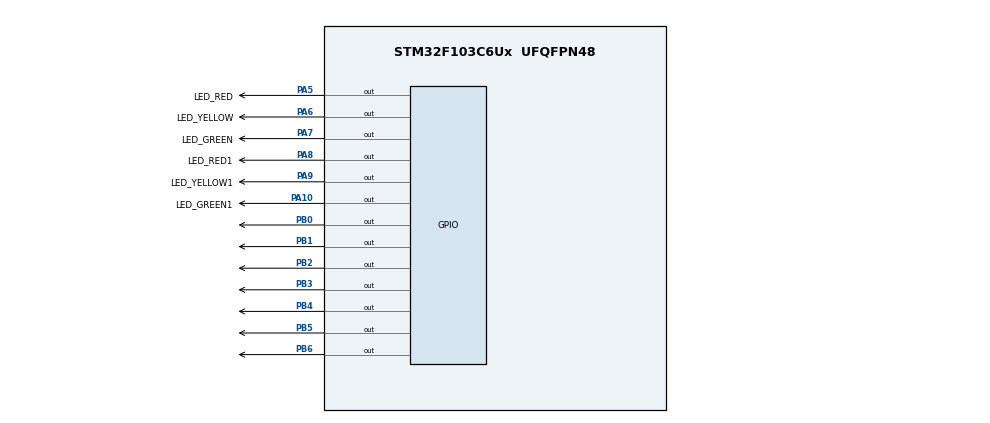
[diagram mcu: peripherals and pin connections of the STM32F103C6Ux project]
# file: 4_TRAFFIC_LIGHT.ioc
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Mcu.Family=STM32F1
Mcu.Name=STM32F103C6Ux
Mcu.Package=UFQFPN48
NVIC.PriorityGroup=NVIC_PRIORITYGROUP_4
PA10.GPIO_Label=LED_GREEN1
PA10.Signal=GPIO_Output
PA5.GPIO_Label=LED_RED
PA5.Signal=GPIO_Output
PA6.GPIO_Label=LED_YELLOW
PA6.Signal=GPIO_Output
PA7.GPIO_Label=LED_GREEN
PA7.Signal=GPIO_Output
PA8.GPIO_Label=LED_RED1
PA8.Signal=GPIO_Output
PA9.GPIO_Label=LED_YELLOW1
PA9.Signal=GPIO_Output
PB0.Signal=GPIO_Output
PB1.Signal=GPIO_Output
PB2.Signal=GPIO_Output
PB3.Signal=GPIO_Output
PB4.Signal=GPIO_Output
PB5.Signal=GPIO_Output
PB6.Signal=GPIO_Output
ProjectManager.HeapSize=0x200
ProjectManager.StackSize=0x400
ProjectManager.TargetToolchain=STM32CubeIDE
RCC.APB1Freq_Value=8000000
RCC.APB2Freq_Value=8000000
VP_SYS_VS_ND.Mode=No_Debug
board=custom

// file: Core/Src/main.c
/* USER CODE BEGIN Header */
/**
  ******************************************************************************
  * @file           : main.c
  * @brief          : Main program body
  ******************************************************************************
  * @attention
  *
  * <h2><center>&copy; Copyright (c) 2025 STMicroelectronics.
  * All rights reserved.</center></h2>
  *
  * This software component is licensed by ST under BSD 3-Clause license,
  * the "License"; You may not use this file except in compliance with the
  * License. You may obtain a copy of the License at:
  *                        opensource.org/licenses/BSD-3-Clause
  *
  ******************************************************************************
  */
/* USER CODE END Header */
#include "main.h"

void SystemClock_Config(void);
static void MX_GPIO_Init(void);

int main(void)
{
	#define SEG_PORT GPIOB
	#define SEG_A    GPIO_PIN_0
	#define SEG_B    GPIO_PIN_1
	#define SEG_C    GPIO_PIN_2
	#define SEG_D    GPIO_PIN_3
	#define SEG_E    GPIO_PIN_4
	#define SEG_F    GPIO_PIN_5
	#define SEG_G    GPIO_PIN_6
  /* USER CODE BEGIN 1 */
	static const uint8_t SEG_CC_PATTERN[10] = {
	/*0*/ 0b0111111,  // a b c d e f
	/*1*/ 0b0000110,  // b c
	/*2*/ 0b1011011,  // a b d e g
	/*3*/ 0b1001111,  // a b c d g
	/*4*/ 0b1100110,  // b c f g
	/*5*/ 0b1101101,  // a c d f g
	/*6*/ 0b1111101,  // a c d e f g
	/*7*/ 0b0000111,  // a b c
	/*8*/ 0b1111111,  // a b c d e f g
	/*9*/ 0b1101111   // a b c d f g
	};
	static const uint16_t SEG_PINS[7] = {SEG_A, SEG_B, SEG_C, SEG_D, SEG_E, SEG_F, SEG_G};

	void display7SEG(int num)
	{
	    if (num < 0 || num > 9) {  // invalid → turn all OFF
	        HAL_GPIO_WritePin(SEG_PORT,SEG_A|SEG_B|SEG_C|SEG_D|SEG_E|SEG_F|SEG_G, SET); // OFF for common-anode
	        return;
	    }

	    uint8_t pat = SEG_CC_PATTERN[num];  // 1 bits mean "segment ON" (CC logic)

	    // Write each segment: ON→RESET, OFF→SET for common-anode
	    for (int i = 0; i < 7; ++i) {
	        GPIO_PinState level = (pat & (1u << i)) ? GPIO_PIN_RESET  // ON
	                                                : GPIO_PIN_SET;   // OFF
	        HAL_GPIO_WritePin(SEG_PORT, SEG_PINS[i], level);
	    }
	}
  /* USER CODE END 1 */

  /* MCU Configuration--------------------------------------------------------*/

  /* Reset of all peripherals, Initializes the Flash interface and the Systick. */
  HAL_Init();

  /* Configure the system clock */
  SystemClock_Config();

  /* Initialize all configured peripherals */
  MX_GPIO_Init();

  /* Infinite loop */
  /* USER CODE BEGIN WHILE */
  typedef enum {GREEN1,YELLOW1,GREEN2,YELLOW2} TrafficState;
  TrafficState state = GREEN1;
  int counter = 0;
  int seg_counter = 5;
  while (1)
  {
	  // --- State Machine ---
	  	counter++;
	  	display7SEG(seg_counter--);

	    switch (state) {
	    case GREEN1:   // Light 1 = GREEN, Light 2 = RED
	    	HAL_GPIO_WritePin(LED_YELLOW1_GPIO_Port, LED_YELLOW1_Pin, RESET);
	    	HAL_GPIO_WritePin(LED_RED_GPIO_Port, LED_RED_Pin, RESET);
	        HAL_GPIO_WritePin(LED_GREEN_GPIO_Port, LED_GREEN_Pin, SET);
	        HAL_GPIO_WritePin(LED_RED1_GPIO_Port, LED_RED1_Pin, SET);
	        if (counter >= 3) { counter = 0; state = YELLOW1; }
	        break;

	    case YELLOW1:  // Light 1 = YELLOW, Light 2 = RED
	    	HAL_GPIO_WritePin(LED_GREEN_GPIO_Port, LED_GREEN_Pin, RESET);
	        HAL_GPIO_WritePin(LED_YELLOW_GPIO_Port, LED_YELLOW_Pin, SET);
	        HAL_GPIO_WritePin(LED_RED1_GPIO_Port, LED_RED1_Pin, SET);
	        if (counter >= 2) { counter = 0; state = GREEN2; seg_counter = 3; }
	        break;

	    case GREEN2:   // Light 2 = GREEN, Light 1 = RED
	        HAL_GPIO_WritePin(LED_YELLOW_GPIO_Port, LED_YELLOW_Pin, RESET);
	        HAL_GPIO_WritePin(LED_RED1_GPIO_Port, LED_RED1_Pin, RESET);
	        HAL_GPIO_WritePin(LED_GREEN1_GPIO_Port, LED_GREEN1_Pin, SET);
	        HAL_GPIO_WritePin(LED_RED_GPIO_Port, LED_RED_Pin, SET);
	        if (counter >= 3) { counter = 0; state = YELLOW2; seg_counter = 2; }
	        break;

	    case YELLOW2:  // Light 2 = YELLOW, Light 1 = RED
	    	HAL_GPIO_WritePin(LED_GREEN1_GPIO_Port, LED_GREEN1_Pin, RESET);
	        HAL_GPIO_WritePin(LED_YELLOW1_GPIO_Port, LED_YELLOW1_Pin, SET);
	        HAL_GPIO_WritePin(LED_RED_GPIO_Port, LED_RED_Pin, SET);
	        if (counter >= 2) { counter = 0; state = GREEN1; seg_counter = 5;}
	        break;
	    }

	    // --- Global 1-second tick ---
	    HAL_Delay(1000);
  }
    /* USER CODE END WHILE */

}

void SystemClock_Config(void)
{
  RCC_OscInitTypeDef RCC_OscInitStruct = {0};
  RCC_ClkInitTypeDef RCC_ClkInitStruct = {0};

  /** Initializes the RCC Oscillators according to the specified parameters
  * in the RCC_OscInitTypeDef structure.
  */
  RCC_OscInitStruct.OscillatorType = RCC_OSCILLATORTYPE_HSI;
  RCC_OscInitStruct.HSIState = RCC_HSI_ON;
  RCC_OscInitStruct.HSICalibrationValue = RCC_HSICALIBRATION_DEFAULT;
  RCC_OscInitStruct.PLL.PLLState = RCC_PLL_NONE;
  if (HAL_RCC_OscConfig(&RCC_OscInitStruct) != HAL_OK)
  {
    Error_Handler();
  }
  /** Initializes the CPU, AHB and APB buses clocks
  */
  RCC_ClkInitStruct.ClockType = RCC_CLOCKTYPE_HCLK|RCC_CLOCKTYPE_SYSCLK
                              |RCC_CLOCKTYPE_PCLK1|RCC_CLOCKTYPE_PCLK2;
  RCC_ClkInitStruct.SYSCLKSource = RCC_SYSCLKSOURCE_HSI;
  RCC_ClkInitStruct.AHBCLKDivider = RCC_SYSCLK_DIV1;
  RCC_ClkInitStruct.APB1CLKDivider = RCC_HCLK_DIV1;
  RCC_ClkInitStruct.APB2CLKDivider = RCC_HCLK_DIV1;

  if (HAL_RCC_ClockConfig(&RCC_ClkInitStruct, FLASH_LATENCY_0) != HAL_OK)
  {
    Error_Handler();
  }
}

static void MX_GPIO_Init(void)
{
  GPIO_InitTypeDef GPIO_InitStruct = {0};

  /* GPIO Ports Clock Enable */
  __HAL_RCC_GPIOA_CLK_ENABLE();
  __HAL_RCC_GPIOB_CLK_ENABLE();

  /*Configure GPIO pin Output Level */
  HAL_GPIO_WritePin(GPIOA, LED_RED_Pin|LED_YELLOW_Pin|LED_GREEN_Pin|LED_RED1_Pin
                          |LED_YELLOW1_Pin|LED_GREEN1_Pin, GPIO_PIN_RESET);

  /*Configure GPIO pin Output Level */
  HAL_GPIO_WritePin(GPIOB, GPIO_PIN_0|GPIO_PIN_1|GPIO_PIN_2|GPIO_PIN_3
                          |GPIO_PIN_4|GPIO_PIN_5|GPIO_PIN_6, GPIO_PIN_RESET);

  /*Configure GPIO pins : LED_RED_Pin LED_YELLOW_Pin LED_GREEN_Pin LED_RED1_Pin
                           LED_YELLOW1_Pin LED_GREEN1_Pin */
  GPIO_InitStruct.Pin = LED_RED_Pin|LED_YELLOW_Pin|LED_GREEN_Pin|LED_RED1_Pin
                          |LED_YELLOW1_Pin|LED_GREEN1_Pin;
  GPIO_InitStruct.Mode = GPIO_MODE_OUTPUT_PP;
  GPIO_InitStruct.Pull = GPIO_NOPULL;
  GPIO_InitStruct.Speed = GPIO_SPEED_FREQ_LOW;
  HAL_GPIO_Init(GPIOA, &GPIO_InitStruct);

  /*Configure GPIO pins : PB0 PB1 PB2 PB3
                           PB4 PB5 PB6 */
  GPIO_InitStruct.Pin = GPIO_PIN_0|GPIO_PIN_1|GPIO_PIN_2|GPIO_PIN_3
                          |GPIO_PIN_4|GPIO_PIN_5|GPIO_PIN_6;
  GPIO_InitStruct.Mode = GPIO_MODE_OUTPUT_PP;
  GPIO_InitStruct.Pull = GPIO_NOPULL;
  GPIO_InitStruct.Speed = GPIO_SPEED_FREQ_LOW;
  HAL_GPIO_Init(GPIOB, &GPIO_InitStruct);

}

void Error_Handler(void)
{
  __disable_irq();
  while (1)
  {
  }
}

/************************ (C) COPYRIGHT STMicroelectronics *****END OF FILE****/
